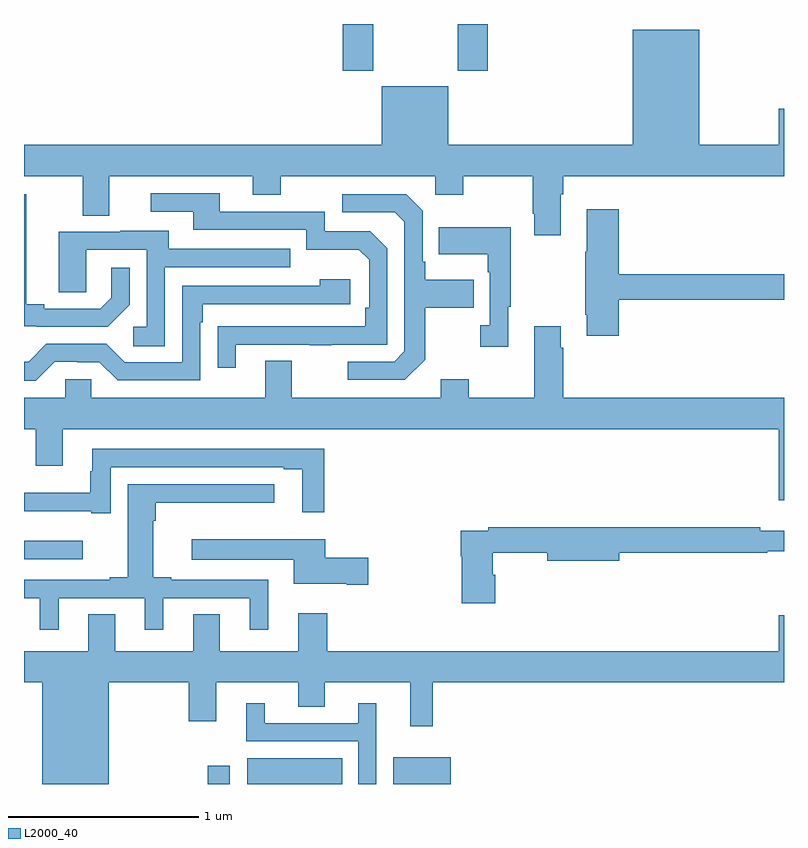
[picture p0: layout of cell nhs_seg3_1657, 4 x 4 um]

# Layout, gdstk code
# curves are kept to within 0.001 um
import gdstk
lib = gdstk.Library(unit=1e-6, precision=1e-09)
def R(c, l, rs):  # rectangles x0, y0, x1, y1
    for r in rs: c.add(gdstk.rectangle(r[:2], r[2:], *l))
def P(c, l, *ps):  # polygons
    for p in ps: c.add(gdstk.Polygon(p, *l))
L2000_40 = (2000, 40)

nhs_seg3_1657 = lib.new_cell('nhs_seg3_1657')
R(nhs_seg3_1657, L2000_40, [(197.968,680.4,198.084,680.497), (198.174,680.4,198.674,680.536), (198.944,680.4,199.246,680.542), (197,681.582,197.308,681.679), (198.677,684.153,198.837,684.4), (199.282,684.153,199.442,684.4)])
P(nhs_seg3_1657, L2000_40, [(197,683.6),(197.309,683.6),(197.309,683.392),(197.449,683.392),(197.449,683.6),(198.203,683.6),(198.203,683.501),(198.351,683.501),(198.351,683.6),(199.164,683.6),(199.164,683.501),(199.311,683.501),(199.311,683.6),(199.678,683.6),(199.678,683.401),(199.685,683.401),(199.685,683.289),(199.825,683.289),(199.825,683.504),(199.838,683.504),(199.838,683.6),(201,683.6),(201,683.953),(200.972,683.953),(200.972,683.764),(200.554,683.764),(200.554,684.37),(200.204,684.37),(200.204,683.764),(199.234,683.764),(199.234,684.073),(198.884,684.073),(198.884,683.764),(197,683.764)],
  [(198.115,682.713),(198.505,682.713),(198.505,682.708),(198.617,682.708),(198.617,682.713),(198.912,682.713),(198.912,683.22),(198.822,683.31),(198.582,683.31),(198.582,683.412),(198.031,683.412),(198.031,683.508),(197.667,683.508),(197.667,683.412),(197.891,683.412),(197.891,683.316),(198.486,683.316),(198.486,683.213),(198.763,683.213),(198.816,683.16),(198.816,682.906),(198.796,682.906),(198.796,682.809),(198.019,682.808),(198.019,682.59),(198.115,682.59)],
  [(197.556,682.922),(197.556,683.116),(197.459,683.116),(197.459,682.959),(197.402,682.902),(197.107,682.902),(197.107,682.925),(197.011,682.925),(197.011,683.505),(197,683.505),(197,682.809),(197.068,682.809),(197.068,682.806),(197.44,682.806)],
  [(199.111,682.633),(199.111,682.906),(199.367,682.906),(199.367,683.053),(199.111,683.053),(199.111,683.149),(199.098,683.149),(199.098,683.418),(199.011,683.505),(198.675,683.505),(198.675,683.409),(198.951,683.409),(199.002,683.358),(199.002,682.677),(198.948,682.623),(198.705,682.623),(198.705,682.527),(199.005,682.527)],
  [(200.129,682.948),(201,682.948),(201,683.084),(200.129,683.084),(200.129,683.425),(199.961,683.425),(199.961,683.201),(199.954,683.201),(199.954,682.87),(199.961,682.87),(199.961,682.758),(200.129,682.758)],
  [(199.549,682.913),(199.561,682.913),(199.561,683.329),(199.183,683.329),(199.183,683.189),(199.44,683.189),(199.44,683.093),(199.452,683.093),(199.452,682.814),(199.401,682.814),(199.401,682.701),(199.549,682.701)],
  [(197.742,683.121),(198.401,683.121),(198.401,683.217),(197.761,683.217),(197.761,683.311),(197.507,683.311),(197.507,683.307),(197.183,683.307),(197.183,682.987),(197.328,682.987),(197.328,683.211),(197.646,683.211),(197.646,682.806),(197.574,682.806),(197.574,682.705),(197.742,682.705)],
  [(197.163,682.623),(197.279,682.623),(197.279,682.62),(197.397,682.62),(197.493,682.524),(197.928,682.524),(197.928,682.829),(197.941,682.829),(197.941,682.926),(198.718,682.926),(198.718,683.056),(198.557,683.056),(198.557,683.022),(197.832,683.022),(197.832,682.62),(197.529,682.62),(197.433,682.716),(197.118,682.716),(197.025,682.623),(197,682.623),(197,682.523),(197.063,682.523)],
  [(201,682.432),(199.838,682.432),(199.838,682.697),(199.825,682.697),(199.825,682.81),(199.685,682.81),(199.685,682.432),(199.341,682.432),(199.341,682.531),(199.193,682.531),(199.193,682.432),(198.409,682.432),(198.409,682.627),(198.269,682.627),(198.269,682.432),(197.355,682.432),(197.355,682.53),(197.217,682.53),(197.217,682.432),(197,682.432),(197,682.268),(197.063,682.268),(197.063,682.074),(197.203,682.074),(197.203,682.268),(200.972,682.268),(200.972,681.894),(201,681.894)],
  [(197.457,682.068),(198.368,682.068),(198.368,682.056),(198.464,682.056),(198.464,681.831),(198.581,681.831),(198.581,682.164),(197.36,682.164),(197.36,682.046),(197.349,682.046),(197.349,681.934),(197,681.934),(197,681.836),(197.354,681.836),(197.354,681.825),(197.457,681.825)],
  [(197.182,681.378),(197.636,681.378),(197.636,681.213),(197.734,681.213),(197.734,681.378),(198.188,681.378),(198.188,681.213),(198.286,681.213),(198.286,681.474),(197.776,681.474),(197.776,681.487),(197.68,681.487),(197.68,681.785),(197.693,681.785),(197.693,681.881),(198.316,681.881),(198.316,681.978),(197.546,681.978),(197.546,681.487),(197.45,681.487),(197.45,681.474),(197,681.474),(197,681.378),(197.084,681.378),(197.084,681.213),(197.182,681.213)],
  [(199.481,681.501),(199.468,681.501),(199.468,681.616),(199.754,681.616),(199.754,681.574),(200.134,681.574),(200.134,681.616),(200.912,681.616),(200.912,681.624),(201,681.624),(201,681.733),(200.876,681.733),(200.876,681.752),(199.444,681.752),(199.444,681.732),(199.298,681.732),(199.298,681.599),(199.303,681.599),(199.303,681.351),(199.481,681.351)],
  [(198.811,681.59),(198.586,681.59),(198.586,681.688),(197.883,681.688),(197.883,681.581),(198.419,681.581),(198.419,681.455),(198.698,681.455),(198.698,681.448),(198.811,681.448)],
  [(197.446,680.936),(197.866,680.936),(197.866,680.73),(198.013,680.73),(198.013,680.936),(198.443,680.936),(198.443,680.806),(198.583,680.806),(198.583,680.936),(199.034,680.936),(199.034,680.703),(199.151,680.703),(199.151,680.936),(201,680.936),(201,681.289),(200.972,681.289),(200.972,681.1),(198.596,681.1),(198.596,681.298),(198.443,681.298),(198.443,681.1),(198.031,681.1),(198.031,681.293),(197.891,681.293),(197.891,681.1),(197.479,681.1),(197.479,681.293),(197.339,681.293),(197.339,681.1),(197,681.1),(197,680.936),(197.096,680.936),(197.096,680.4),(197.446,680.4)],
  [(198.855,680.824),(198.758,680.824),(198.758,680.721),(198.268,680.721),(198.268,680.824),(198.17,680.824),(198.17,680.625),(198.759,680.625),(198.759,680.4),(198.855,680.4)])

lib.write_gds('nhs_seg3_1657.gds')
